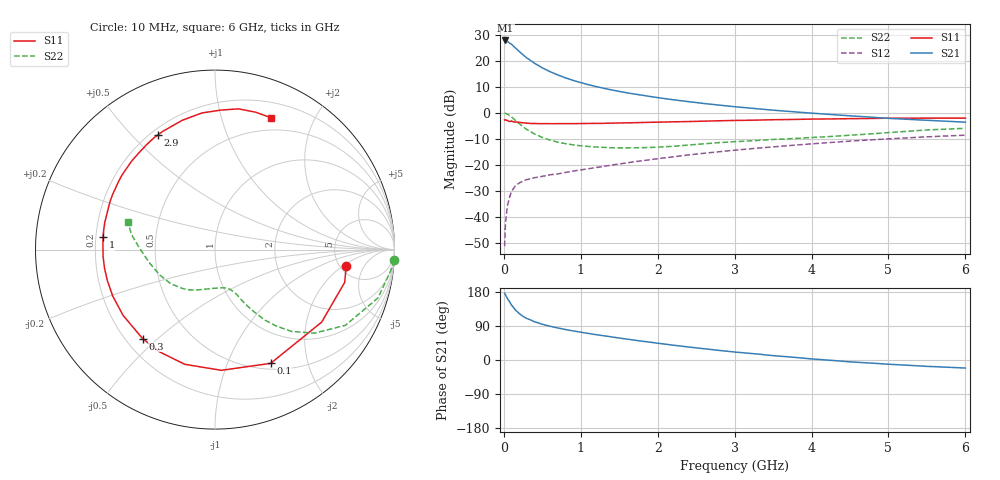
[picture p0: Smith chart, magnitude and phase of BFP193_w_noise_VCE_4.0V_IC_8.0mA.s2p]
! Infineon Technologies  Discrete & RF Semiconductors
! BFP193
! VCE =  4.0 V,  IC =  8.0 mA
! Common Emitter S-Parameters:  Jan 2017
# GHz  S  MA  R  50
!  f  S11  S21  S12  S22
! GHz  MAG  ANG  MAG  ANG  MAG  ANG  MAG  ANG
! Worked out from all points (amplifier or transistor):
!   77 points, 10 MHz to 6 GHz, reference 50 ohm
!   highest |S21| = 27.8 dB at 20 MHz (marker M1)
!   |S21| within 3 dB of that: start of sweep to 155.3 MHz
!   unconditionally stable (mu >= 1): 1.196 GHz to 2.627 GHz
!   at 130 MHz: K = 0.20, MSG = 27.1 dB, |S12| = -28.8 dB
!   at 2.2 GHz: K = 1.04, MAG = 9.7 dB, |S12| = -16.8 dB
!   at 6 GHz: K = 0.88, MSG = 2.5 dB, |S12| = -8.5 dB
!   lowest NFmin = 0.85 dB at 450 MHz
!   S11 on the Smith chart (normalised r, x): 10 MHz: 5.67, -2.26; 100 MHz: 0.57, -1.44; 300 MHz: 0.27, -0.45; 1 GHz: 0.23, +0.05; 2.9 GHz: 0.23, +0.60; 6 GHz: 0.36, +1.44
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0.01  0.7368 -7.1  24.48 176.1  0.0028 84.8  1 -3.4
0.02  0.7453 -14.2  24.57 172.3  0.007 86.7  0.9857 -6.9
0.05  0.7187 -34.2  23.41 160.9  0.0174 74.0  0.9472 -16.5
0.1  0.7056 -63.9  20.79 144.8  0.0314 62.2  0.8398 -30.2
0.15  0.6735 -87.0  17.69 132.0  0.04 52.2  0.7226 -40.1
0.2  0.6608 -104.8  15.12 122.6  0.0455 47.2  0.6245 -46.9
0.25  0.6481 -118.6  13.01 114.9  0.0497 43.5  0.544 -51.4
0.3  0.6391 -129.1  11.33 109.4  0.0529 41.0  0.481 -54.7
0.4  0.6298 -144.4  8.952 100.7  0.0575 39.7  0.3948 -58.6
0.5  0.6258 -155.6  7.328 94.3  0.061 39.5  0.3396 -61.2
0.6  0.6241 -163.8  6.21 89.0  0.0654 40.4  0.3023 -63.0
0.7  0.6242 -170.5  5.365 84.7  0.0679 40.9  0.2765 -64.2
0.8  0.6246 -176.5  4.731 80.5  0.0724 42.7  0.2588 -66.0
1  0.6277 173.7  3.823 73.4  0.0812 44.8  0.2347 -69.7
1.1  0.63 169.5  3.49 70.1  0.0854 45.9  0.2283 -71.8
1.5  0.6439 154.8  2.593 58.0  0.1055 48.2  0.2142 -82.8
2.1  0.6714 136.0  1.882 41.8  0.1386 48.2  0.2258 -103.0
2.9  0.7141 116.3  1.367 23.2  0.1872 44.1  0.276 -127.0
3.1  0.7226 112.1  1.28 19.3  0.1996 42.6  0.2866 -132.4
4.1  0.7662 93.9  0.97 1.4  0.2624 33.9  0.3449 -158.5
5.1  0.7946 79.1  0.776 -12.2  0.3253 23.0  0.4306 176.8
6  0.798 67.2  0.667 -21.2  0.3756 12.6  0.5092 162.3
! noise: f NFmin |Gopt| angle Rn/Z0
0.45  0.85  0.21  129  0.09
0.9  0.97  0.36  162  0.07
1.9  1.79  0.58  -148  0.12
2.4  2.19  0.64  -129  0.31
